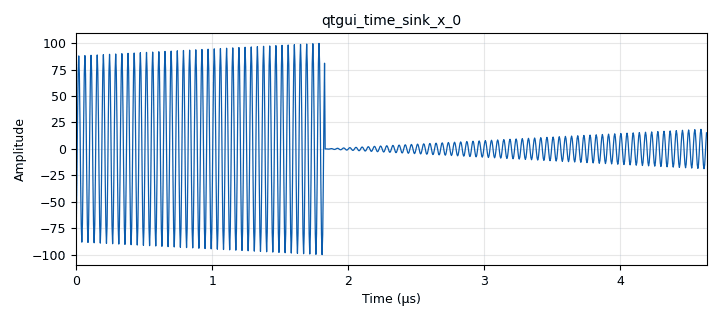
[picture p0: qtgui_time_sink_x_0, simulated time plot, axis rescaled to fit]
options:
  parameters:
    author: uis-e3t
    generate_options: qt_gui
    id: Practica3_2
    output_language: python
    title: Not titled yet
  states: {}

blocks:
- name: samp_rate
  id: variable
  parameters:
    value: 220.8e6
  states: {}
- name: variable_qtgui_range_0
  id: variable_qtgui_range
  parameters:
    orient: Qt.Horizontal
    start: '0'
    step: '1'
    stop: '100'
    value: '50'
  states: {}
- name: Practica3_1_0
  id: Practica3_1
  parameters:
    l_vect: '1024'
  states: {}
- name: analog_sig_source_x_0
  id: analog_sig_source_x
  parameters:
    amp: '10'
    freq: '67000'
    offset: '0'
    phase: '0'
    samp_rate: samp_rate
    type: float
    waveform: analog.GR_SAW_WAVE
  states: {}
- name: analog_sig_source_x_0_0
  id: analog_sig_source_x
  parameters:
    amp: '10'
    freq: '22080000'
    offset: '0'
    phase: '0'
    samp_rate: samp_rate
    type: float
    waveform: analog.GR_COS_WAVE
  states: {}
- name: blocks_multiply_xx_0
  id: blocks_multiply_xx
  parameters:
    type: float
  states: {}
- name: qtgui_time_sink_x_0
  id: qtgui_time_sink_x
  parameters:
    size: '1024'
    srate: samp_rate
    type: float
  states: {}

connections:
- [analog_sig_source_x_0, '0', blocks_multiply_xx_0, '0']
- [analog_sig_source_x_0_0, '0', blocks_multiply_xx_0, '1']
- [blocks_multiply_xx_0, '0', Practica3_1_0, '0']
- [blocks_multiply_xx_0, '0', qtgui_time_sink_x_0, '0']

metadata:
  file_format: 1
